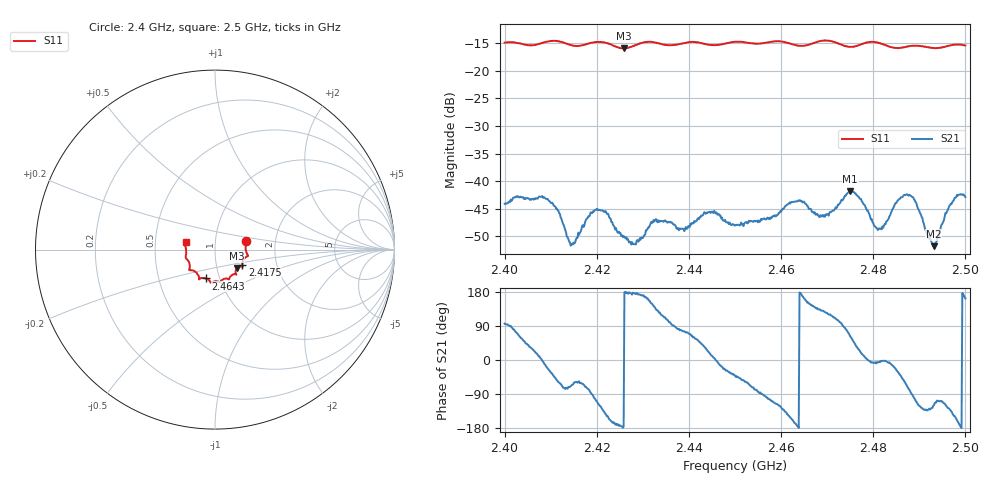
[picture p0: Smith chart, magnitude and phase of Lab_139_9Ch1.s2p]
# Hz S RI R 50
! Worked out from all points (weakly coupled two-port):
!   601 points, 2.4 GHz to 2.5 GHz, reference 50 ohm
!   highest |S21| = -41.84 dB at 2.475 GHz (marker M1); lowest = -51.8 dB at 2.4932 GHz (marker M2)
!   lowest |S11| = -15.9 dB at 2.4258 GHz (marker M3), VSWR 1.38, Z = 62.3 - j13.2 ohm
!   |S11| at or under -10 dB: start of sweep to end of sweep
!   S12 and S22 are empty: the file has one direction only
!   S11 on the Smith chart (normalised r, x): 2.4 GHz: 1.41, +0.14; 2.4175 GHz: 1.33, -0.23; 2.4643 GHz: 0.86, -0.28; 2.5 GHz: 0.72, +0.06
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2.4e9  0.1733 0.0488  -0.000652 0.00619  0 0  0 0
2.408167e9  0.1779 -0.0222  0.00732 -0.000234  0 0  0 0
2.4115e9  0.1824 -0.036  0.00308 -0.00449  0 0  0 0
2.414333e9  0.1642 -0.0488  0.00091 -0.00244  0 0  0 0
2.416667e9  0.1527 -0.074  0.00175 -0.00321  0 0  0 0
2.4175e9  0.1517 -0.0837  0.00141 -0.00406  0 0  0 0
2.4215e9  0.1537 -0.0962  -0.00378 -0.00369  0 0  0 0
2.425833e9  0.1219 -0.1032  -0.00318 -0.000226  0 0  0 0
2.428e9  0.1143 -0.1236  -0.00268 0.000168  0 0  0 0
2.433333e9  0.1134 -0.1371  -0.00275 0.00345  0 0  0 0
2.439167e9  0.08 -0.1607  0.00103 0.00355  0 0  0 0
2.445e9  0.056 -0.1617  0.0052 0.00102  0 0  0 0
2.45e9  0.0285 -0.1811  0.00298 -0.0026  0 0  0 0
2.464333e9  -0.0501 -0.1608  -0.00653 0.000628  0 0  0 0
2.466667e9  -0.0764 -0.1589  -0.00431 0.00306  0 0  0 0
2.475e9  -0.1061 -0.1262  0.00374 0.00718  0 0  0 0
2.480667e9  -0.1436 -0.111  0.00372 -0.000607  0 0  0 0
2.483333e9  -0.1406 -0.0897  0.00452 -0.000575  0 0  0 0
2.488167e9  -0.1611 -0.0483  0.000428 -0.00735  0 0  0 0
2.493167e9  -0.1603 -0.0119  -0.00126 -0.00224  0 0  0 0
2.497167e9  -0.1692 0.0284  -0.00498 -0.00412  0 0  0 0
2.5e9  -0.1643 0.0426  -0.00683 0.00218  0 0  0 0
